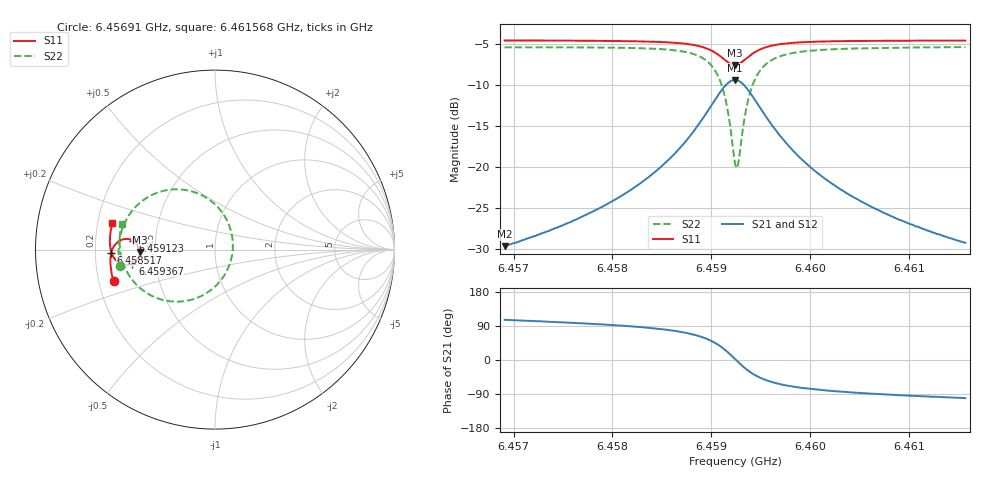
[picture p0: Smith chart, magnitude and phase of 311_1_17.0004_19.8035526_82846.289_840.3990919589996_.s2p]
#  HZ  S  RI  R  50.00
! Rohde & Schwarz Vector Network Analyzer
! Rohde-Schwarz,ZNB20-2Port,1311601062101988,3.16
! Created: UTC 3/20/2024, 11:06:00 PM
! freq[Hz]  re:S11  im:S11  re:S21  im:S21  re:S12  im:S12  re:S22  im:S22
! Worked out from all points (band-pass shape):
!   401 points, 6.45691 GHz to 6.461568 GHz, reference 50 ohm
!   highest |S21| = -9.37 dB at 6.459239 GHz (marker M1); lowest = -29.6 dB at 6.45691 GHz (marker M2)
!   |S21| within 3 dB of the highest: 6.459006 GHz to 6.459472 GHz (466.3 kHz wide, 0.00722 % of centre)
!   lowest |S11| = -7.5 dB at 6.459239 GHz (marker M3), VSWR 2.45, Z = 20.4 - j0.638 ohm
!   |S11| at or under -10 dB: nowhere
!   |S22| runs from -20.1 to -5.4 dB; largest |S21 - S12| = 0.013
!   S11 on the Smith chart (normalised r, x): 6.45691 GHz: 0.26, -0.14; 6.458517 GHz: 0.27, -0.02; 6.459123 GHz: 0.37, +0.05; 6.459367 GHz: 0.37, -0.07; 6.461568 GHz: 0.26, +0.12
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6.4569099e9  -0.5648 -0.1776  -0.00907 0.0318  -0.00742 0.0318  -0.5307 -0.0894
6.4576902e9  -0.5798 -0.1097  -0.00597 0.0496  -0.00346 0.049  -0.537 0.000466
6.4581211e9  -0.583 -0.0667  -0.000255 0.0688  0.00301 0.0676  -0.5295 0.0677
6.4584705e9  -0.5796 -0.0252  0.0134 0.0973  0.0173 0.0947  -0.5051 0.1449
6.458517e9  -0.5783 -0.0189  0.0167 0.1028  0.0206 0.0998  -0.4989 0.1578
6.4587267e9  -0.5664 0.013  0.0423 0.1342  0.0465 0.1295  -0.451 0.2288
6.4588781e9  -0.5453 0.0394  0.0844 0.1643  0.0878 0.1578  -0.374 0.2924
6.4590295e9  -0.4995 0.0592  0.175 0.1833  0.1761 0.1759  -0.2088 0.3361
6.4591226e9  -0.4554 0.0494  0.264 0.1528  0.2642 0.1468  -0.0453 0.2871
6.4591692e9  -0.4343 0.0307  0.307 0.1106  0.3083 0.1052  0.036 0.2121
6.4592391e9  -0.4196 -0.0129  0.3398 0.0151  0.3434 0.00808  0.0994 0.036
6.4592507e9  -0.42 -0.0208  0.3397 -0.00227  0.3434 -0.0101  0.0992 0.00306
6.459274e9  -0.4234 -0.0362  0.3342 -0.0365  0.3379 -0.0456  0.0883 -0.0611
6.4593323e9  -0.4439 -0.0671  0.297 -0.1074  0.2981 -0.1196  0.0128 -0.1938
6.4593672e9  -0.4606 -0.078  0.2652 -0.1359  0.2641 -0.1489  -0.051 -0.2448
6.4594604e9  -0.5035 -0.0849  0.182 -0.167  0.1759 -0.178  -0.2158 -0.2902
6.4596118e9  -0.5469 -0.0644  0.0955 -0.1535  0.0872 -0.1596  -0.3798 -0.2421
6.4597748e9  -0.5684 -0.0369  0.0513 -0.1265  0.0438 -0.129  -0.4586 -0.1715
6.4600194e9  -0.581 -0.00145  0.0224 -0.0955  0.0165 -0.0961  -0.5059 -0.0905
6.4603571e9  -0.5856 0.0386  0.00665 -0.0698  0.00272 -0.0694  -0.5268 -0.0146
6.4607997e9  -0.5838 0.0829  -0.00128 -0.051  -0.00399 -0.0502  -0.5314 0.0553
6.4615683e9  -0.5716 0.1507  -0.00651 -0.0341  -0.008 -0.0331  -0.5199 0.1448
